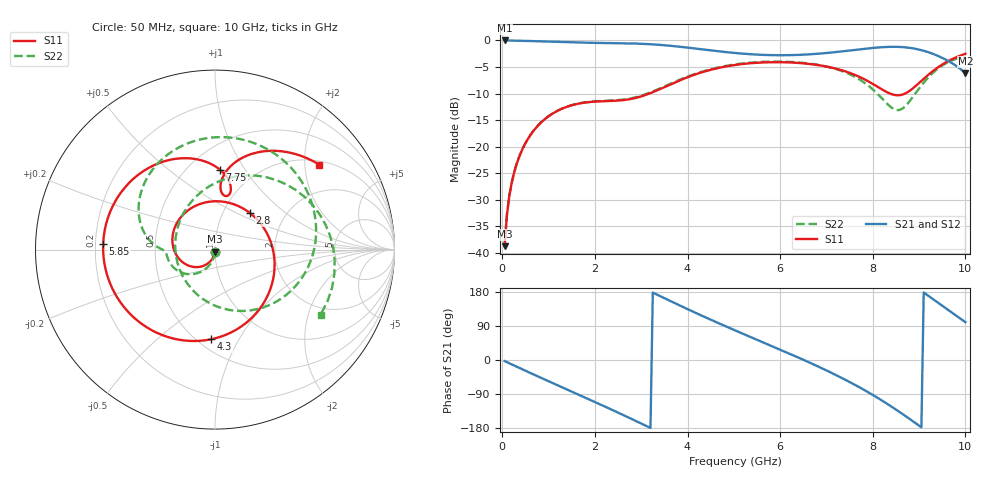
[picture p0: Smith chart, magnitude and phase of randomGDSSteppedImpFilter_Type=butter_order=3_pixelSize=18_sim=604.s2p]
! freq	dB(S11)	phase(S11)	dB(S12)	phase(S12)
!  dB(S21)	phase(S21)	dB(S22)	phase(S22)
!S-par simulation data
#  GHz  S  DB  R 50
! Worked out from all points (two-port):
!   200 points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, 50 MHz to 10 GHz, reference 50 ohm
!   highest |S21| = -0.01 dB at 50 MHz (marker M1); lowest = -6.2 dB at 10 GHz (marker M2)
!   |S21| within 3 dB of the highest: start of sweep to 9.43 GHz
!   lowest |S11| = -38.8 dB at 50 MHz (marker M3), VSWR 1.02, Z = 49.9 - j1.15 ohm
!   |S11| at or under -10 dB: start of sweep to 3.177 GHz; 8.369 GHz to 8.699 GHz (329.7 MHz wide, 3.86 % of centre)
!   |S22| runs from -38.7 to -3.2 dB; largest |S21 - S12| = 0
!   S11 on the Smith chart (normalised r, x): 50 MHz: 1.00, -0.02; 2.8 GHz: 1.34, +0.59; 4.3 GHz: 0.58, -0.77; 5.85 GHz: 0.23, +0.02; 7.75 GHz: 0.70, +0.78; 10 GHz: 1.10, +2.36
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0.05  -38.76 -92.5  -0.01 -2.9  -0.01 -2.9  -38.72 -91.2
0.1  -32.84 -96.2  -0.01 -5.7  -0.01 -5.7  -32.82 -94.0
0.2  -26.96 -103.5  -0.03 -11.4  -0.03 -11.4  -26.94 -99.2
0.5  -19.36 -124.3  -0.09 -28.3  -0.09 -28.3  -19.34 -113.4
1.15  -13.45 -169.0  -0.28 -64.3  -0.28 -64.3  -13.43 -140.9
1.75  -11.75 146.1  -0.42 -97.1  -0.42 -97.1  -11.71 -161.6
2.25  -11.43 102.6  -0.48 -124.7  -0.48 -124.7  -11.37 -173.3
2.8  -10.99 46.0  -0.57 -156.0  -0.57 -156.0  -10.87 -179.2
3.4  -9.19 -17.2  -0.84 169.0  -0.84 169.0  -9.05 173.9
3.85  -7.46 -57.9  -1.20 142.8  -1.20 142.8  -7.34 162.5
4.3  -6.03 -92.3  -1.66 117.4  -1.66 117.4  -5.92 146.3
5.05  -4.59 -139.8  -2.39 76.9  -2.39 76.9  -4.49 113.7
5.85  -4.10 177.0  -2.78 35.2  -2.78 35.2  -3.99 74.2
6.7  -4.50 134.5  -2.58 -10.4  -2.58 -10.4  -4.44 26.6
7.2  -5.31 110.4  -2.20 -39.4  -2.20 -39.4  -5.38 -6.1
7.75  -7.02 86.4  -1.65 -74.6  -1.65 -74.6  -7.55 -50.4
8.05  -8.45 77.3  -1.38 -95.8  -1.38 -95.8  -9.63 -82.7
8.35  -9.93 75.4  -1.21 -118.7  -1.21 -118.7  -12.26 -129.5
8.8  -9.47 84.6  -1.40 -155.9  -1.40 -155.9  -11.39 130.4
9.25  -6.11 77.4  -2.37 164.9  -2.37 164.9  -6.51 60.7
9.7  -3.58 55.8  -4.23 125.8  -4.23 125.8  -3.80 6.8
10  -2.51 39.2  -6.20 100.0  -6.20 100.0  -3.21 -31.6
